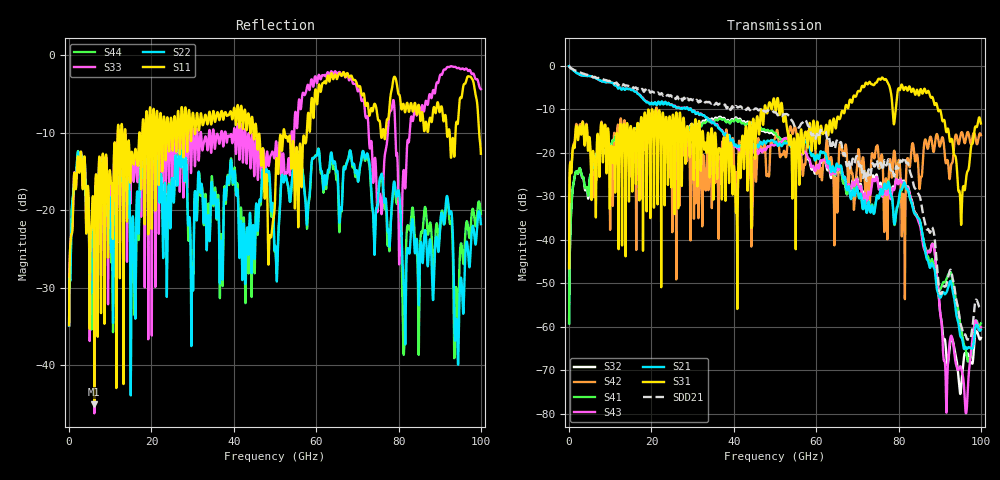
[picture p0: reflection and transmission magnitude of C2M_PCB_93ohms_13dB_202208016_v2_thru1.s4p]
! Info: Touchstone file created by Circ.  Input file=Intel_C2M_200G_3p0in_202208016_staggered.circ
# Hz S RI R 50
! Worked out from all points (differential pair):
!   10000 points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, 10 MHz to 100 GHz, reference 50 ohm
!   strongest paths, dB at 10 MHz, 25.01 GHz, 50.01 GHz, 75.01 GHz, 100 GHz:
!     S31: -46.6, -14.2, -9.3, -3.2, -13.3
!     S21: -0.2, -9.0, -17.7, -30.3, -60.7
!     S43: -0.2, -9.0, -18.3, -27.4, -60.1
!     S41: -59.2, -15.8, -15.5, -30.3, -59.2
!     S42: -46.6, -30.5, -16.6, -19.1, -16.0
!     S32: -59.2, -15.7, -15.9, -26.9, -62.6
!   taken as a pair (ports 1,3 in; 2,4 out), SDD21 dB: -0.1, -7.2, -10.8, -23.0, -55.1
!   lowest |S11| = -45.1 dB at 6.11 GHz (marker M1), VSWR 1.01, Z = 49.8 - j0.502 ohm
!   |S11| at or under -10 dB: start of sweep to 11.8 GHz; 45.52 GHz to 52.02 GHz (6.502 GHz wide, 13.3 % of centre); 52.35 GHz to 57.73 GHz (5.38 GHz wide, 9.78 % of centre)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
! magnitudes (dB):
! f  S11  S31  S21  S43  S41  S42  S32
! 10 MHz  -34.9  -46.6  -0.2  -0.2  -59.2  -46.6  -59.2
! 1.31 GHz  -15.2  -18.9  -1.3  -1.3  -25.8  -17.6  -25.8
! 6.11 GHz  -45.1  -21.7  -2.7  -2.7  -21.0  -29.1  -20.9
! 64.86 GHz  -2.8  -14.1  -22.9  -23.7  -23.4  -26.7  -24.2
! 80.83 GHz  -6.9  -4.4  -28.3  -27.0  -28.5  -38.8  -26.7
! 91.45 GHz  -7.9  -14.6  -52.4  -72.0  -49.5  -22.4  -64.5
! 100 GHz  -12.7  -13.3  -60.7  -60.1  -59.2  -16.0  -62.6
